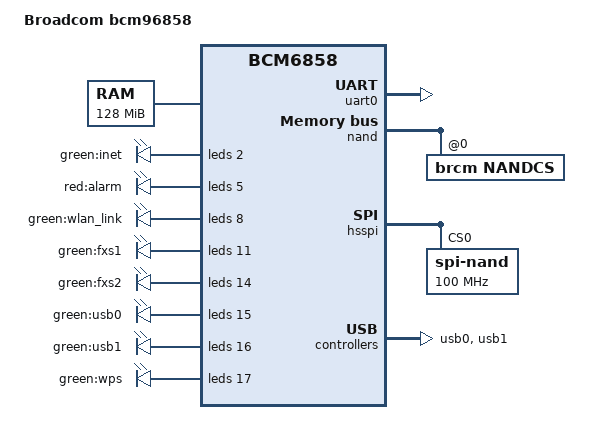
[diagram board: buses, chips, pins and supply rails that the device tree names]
// SPDX-License-Identifier: GPL-2.0+
/*
 * Copyright (C) 2018 Philippe Reynes <philippe.reynes@softathome.com>
 *
 * Copyright 2019 Broadcom Ltd.
 */

/dts-v1/;

#include "bcm6858.dtsi"

/ {
	model = "Broadcom bcm96858";
	compatible = "broadcom,bcm96858", "brcm,bcm6858";

	aliases {
		serial0 = &uart0;
	};

	chosen {
		stdout-path = "serial0:115200n8";
	};

	memory {
		device_type = "memory";
		reg = <0x0 0x0 0x0 0x08000000>;
	};
};

&uart0 {
	u-boot,dm-pre-reloc;
	status = "okay";
};

&nand {
	status = "okay";
	write-protect = <0>;
	#address-cells = <1>;
	#size-cells = <0>;

	nandcs@0 {
		compatible = "brcm,nandcs";
		reg = <0>;
	};
};

&hsspi {
	status = "okay";
	spi-nand {
		compatible = "spi-nand";
		reg = <0>;
		#address-cells = <1>;
		#size-cells = <0>;
		u-boot,dm-pre-reloc;				
		spi-max-frequency = <100000000>;
	};
};

&leds {
	status = "okay";
	#address-cells = <1>;
	#size-cells = <0>;
	brcm,serial-led-en-pol;
	brcm,serial-led-data-ppol;

	led@2 {
		reg = <2>;
		label = "green:inet";
	};

	led@5 {
		reg = <5>;
		label = "red:alarm";
	};

	led@8 {
		reg = <8>;
		label = "green:wlan_link";
	};

	led@11 {
		reg = <11>;
		label = "green:fxs1";
	};

	led@14 {
		reg = <14>;
		label = "green:fxs2";
	};

	led@15 {
		reg = <15>;
		label = "green:usb0";
	};

	led@16 {
		reg = <16>;
		label = "green:usb1";
	};

	led@17 {
		reg = <17>;
		label = "green:wps";
	};
};

/* pinmux */
/ {
	usb0a_pwrflt_pins: usb0a_pwrflt_pinmux {
	    pins = <113>;
	    function = <1>;
	};

	usb0a_pwron_pins: usb0a_pwron_pinmux {
	    pins = <114>;
	    function = <1>;
	};

	usb1a_pwrflt_pins: usb1a_pwrflt_pinmux {
	    pins = <115>;
	    function = <1>;
	};

	usb1a_pwron_pins: usb1a_pwron_pinmux {
	    pins = <116>;
	    function = <1>;
	};
};

&usb0 {
	status = "okay";
	pinctrl-0 = <&usb0a_pwrflt_pins &usb0a_pwron_pins>;
	pinctrl-names="default";
};

&usb1 {
	status = "okay";
	pinctrl-0 = <&usb1a_pwrflt_pins &usb1a_pwron_pins>;
	pinctrl-names="default";
};
